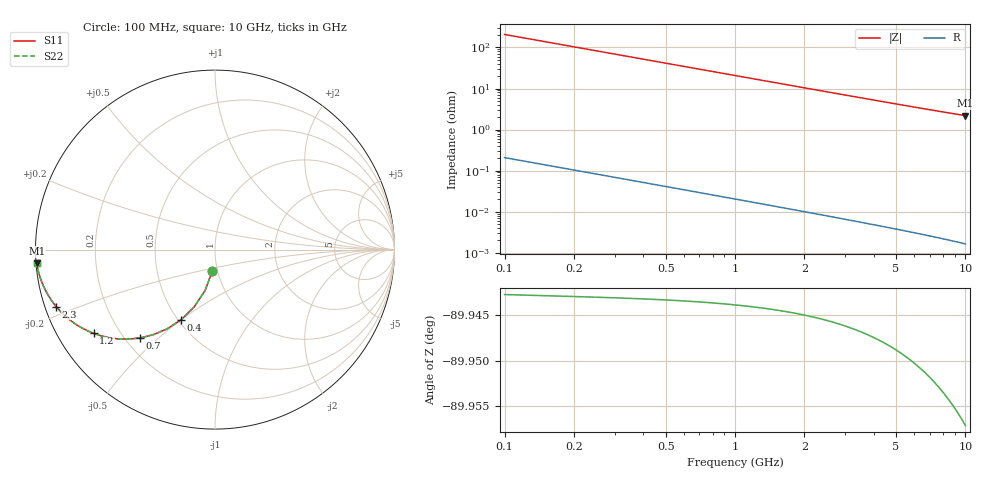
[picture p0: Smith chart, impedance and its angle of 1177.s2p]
# Hz S RI R 50.00
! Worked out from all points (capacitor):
!   100 points, 100 MHz to 10 GHz, reference 50 ohm
!   read as one part in shunt: C = 7.68 pF near 100 MHz
!   lowest |Z| = 2.18 ohm at 10 GHz (marker M1)
!   S11 on the Smith chart (normalised r, x): 100 MHz: 0.94, -0.23; 400 MHz: 0.52, -0.50; 700 MHz: 0.26, -0.44; 1.2 GHz: 0.11, -0.31; 2.3 GHz: 0.03, -0.17; 10 GHz: 0.00, -0.04
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1e8  -0.0145 -0.1189  0.9855 -0.119  0.9855 -0.119  -0.0145 -0.1189
2e8  -0.0552 -0.2279  0.9447 -0.2281  0.9447 -0.2281  -0.0552 -0.2279
3e8  -0.1161 -0.3197  0.8839 -0.32  0.8839 -0.32  -0.1161 -0.3197
4e8  -0.1892 -0.391  0.8108 -0.3914  0.8108 -0.3914  -0.1892 -0.391
5e8  -0.2671 -0.4417  0.7329 -0.4422  0.7329 -0.4422  -0.2671 -0.4417
6e8  -0.344 -0.4742  0.6559 -0.4749  0.6559 -0.4749  -0.344 -0.4742
7e8  -0.4164 -0.4921  0.5835 -0.4928  0.5835 -0.4928  -0.4164 -0.4921
9e8  -0.541 -0.4973  0.4589 -0.4983  0.4589 -0.4983  -0.541 -0.4973
1e9  -0.5926 -0.4903  0.4073 -0.4914  0.4073 -0.4914  -0.5926 -0.4903
1.2e9  -0.6768 -0.4666  0.3232 -0.4678  0.3232 -0.4678  -0.6768 -0.4666
1.3e9  -0.7107 -0.4523  0.2893 -0.4536  0.2893 -0.4536  -0.7107 -0.4523
1.5e9  -0.7657 -0.4222  0.2342 -0.4238  0.2342 -0.4238  -0.7657 -0.4222
1.8e9  -0.8247 -0.3788  0.1753 -0.3807  0.1753 -0.3807  -0.8247 -0.3788
2e9  -0.853 -0.3525  0.1469 -0.3546  0.1469 -0.3546  -0.853 -0.3525
2.3e9  -0.8847 -0.3177  0.1153 -0.3201  0.1153 -0.3201  -0.8847 -0.3177
2.8e9  -0.9191 -0.2707  0.0809 -0.2736  0.0809 -0.2736  -0.9191 -0.2707
3.4e9  -0.9436 -0.2283  0.0563 -0.2319  0.0563 -0.2319  -0.9436 -0.2283
4.2e9  -0.9623 -0.1877  0.0377 -0.1921  0.0377 -0.1921  -0.9623 -0.1877
5.1e9  -0.9741 -0.1555  0.0258 -0.1609  0.0258 -0.1609  -0.9741 -0.1555
6.7e9  -0.9848 -0.1179  0.0151 -0.1251  0.0151 -0.1251  -0.9848 -0.1179
8.4e9  -0.9903 -0.0926  0.00958 -0.1016  0.00958 -0.1016  -0.9903 -0.0926
1e10  -0.9932 -0.0759  0.0067 -0.0868  0.0067 -0.0868  -0.9932 -0.0759
